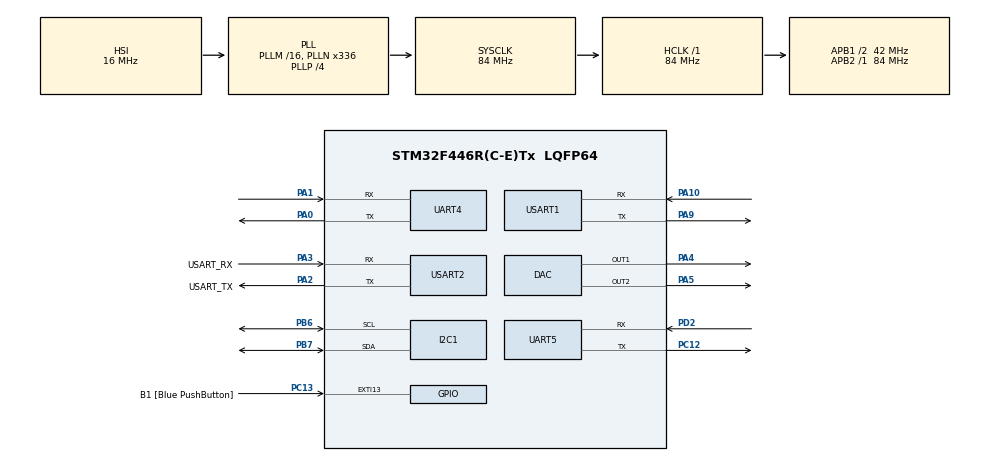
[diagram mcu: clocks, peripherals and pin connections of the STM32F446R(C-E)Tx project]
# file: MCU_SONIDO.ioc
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DAC.DAC_Trigger=DAC_TRIGGER_T6_TRGO
DAC.DAC_Trigger2=DAC_TRIGGER_T7_TRGO
Dma.DAC1.0.Direction=DMA_MEMORY_TO_PERIPH
Dma.DAC1.0.FIFOMode=DMA_FIFOMODE_DISABLE
Dma.DAC1.0.Instance=DMA1_Stream5
Dma.DAC1.0.MemDataAlignment=DMA_MDATAALIGN_HALFWORD
Dma.DAC1.0.MemInc=DMA_MINC_ENABLE
Dma.DAC1.0.Mode=DMA_CIRCULAR
Dma.DAC1.0.PeriphDataAlignment=DMA_PDATAALIGN_HALFWORD
Dma.DAC1.0.PeriphInc=DMA_PINC_DISABLE
Dma.DAC1.0.Priority=DMA_PRIORITY_LOW
Dma.DAC2.1.Direction=DMA_MEMORY_TO_PERIPH
Dma.DAC2.1.FIFOMode=DMA_FIFOMODE_DISABLE
Dma.DAC2.1.Instance=DMA1_Stream6
Dma.DAC2.1.MemDataAlignment=DMA_MDATAALIGN_HALFWORD
Dma.DAC2.1.MemInc=DMA_MINC_ENABLE
Dma.DAC2.1.Mode=DMA_CIRCULAR
Dma.DAC2.1.PeriphDataAlignment=DMA_PDATAALIGN_HALFWORD
Dma.DAC2.1.PeriphInc=DMA_PINC_DISABLE
Dma.DAC2.1.Priority=DMA_PRIORITY_LOW
Dma.Request0=DAC1
Dma.Request1=DAC2
I2C1.OwnAddress=32
Mcu.Family=STM32F4
Mcu.Name=STM32F446R(C-E)Tx
Mcu.Package=LQFP64
NVIC.DMA1_Stream5_IRQn=true\:0\:0\:false\:false\:true\:false\:true\:true
NVIC.DMA1_Stream6_IRQn=true\:0\:0\:false\:false\:true\:false\:true\:true
NVIC.I2C1_ER_IRQn=true\:0\:0\:false\:false\:true\:true\:true\:true
NVIC.I2C1_EV_IRQn=true\:0\:0\:false\:false\:true\:true\:true\:true
NVIC.PriorityGroup=NVIC_PRIORITYGROUP_0
NVIC.TIM6_DAC_IRQn=true\:0\:0\:false\:false\:true\:true\:true\:true
NVIC.TIM7_IRQn=true\:0\:0\:false\:false\:true\:true\:true\:true
NVIC.UART4_IRQn=true\:0\:0\:false\:false\:true\:true\:true\:true
NVIC.UART5_IRQn=true\:0\:0\:false\:false\:true\:true\:true\:true
NVIC.USART1_IRQn=true\:0\:0\:false\:false\:true\:true\:true\:true
NVIC.USART2_IRQn=true\:0\:0\:false\:false\:true\:true\:true\:true
PA0-WKUP.Mode=Asynchronous
PA0-WKUP.Signal=UART4_TX
PA1.Mode=Asynchronous
PA1.Signal=UART4_RX
PA10.Mode=Asynchronous
PA10.Signal=USART1_RX
PA13.GPIO_Label=TMS
PA13.Mode=Serial_Wire
PA13.Signal=SYS_JTMS-SWDIO
PA14.GPIO_Label=TCK
PA14.Mode=Serial_Wire
PA14.Signal=SYS_JTCK-SWCLK
PA2.GPIO_Label=USART_TX
PA2.Mode=Asynchronous
PA2.Signal=USART2_TX
PA3.GPIO_Label=USART_RX
PA3.Mode=Asynchronous
PA3.Signal=USART2_RX
PA4.Signal=COMP_DAC1_group
PA5.Signal=COMP_DAC2_group
PA9.Mode=Asynchronous
PA9.Signal=USART1_TX
PB3.GPIO_Label=SWO
PB3.Signal=SYS_JTDO-SWO
PB6.Mode=I2C
PB6.Signal=I2C1_SCL
PB7.Mode=I2C
PB7.Signal=I2C1_SDA
PC12.Mode=Asynchronous
PC12.Signal=UART5_TX
PC13.GPIO_Label=B1 [Blue PushButton]
PC13.GPIO_ModeDefaultEXTI=GPIO_MODE_IT_FALLING
PC13.Signal=GPXTI13
PC14-OSC32_IN.Mode=LSE-External-Oscillator
PC14-OSC32_IN.Signal=RCC_OSC32_IN
PC15-OSC32_OUT.Mode=LSE-External-Oscillator
PC15-OSC32_OUT.Signal=RCC_OSC32_OUT
PD2.Mode=Asynchronous
PD2.Signal=UART5_RX
PH0-OSC_IN.Mode=HSE-External-Oscillator
PH0-OSC_IN.Signal=RCC_OSC_IN
PH1-OSC_OUT.Mode=HSE-External-Oscillator
PH1-OSC_OUT.Signal=RCC_OSC_OUT
ProjectManager.HeapSize=0x200
ProjectManager.StackSize=0x400
ProjectManager.TargetToolchain=STM32CubeIDE
RCC.48MHZClocksFreq_Value=84000000
RCC.AHBFreq_Value=84000000
RCC.APB1CLKDivider=RCC_HCLK_DIV2
RCC.APB1Freq_Value=42000000
RCC.APB1TimFreq_Value=84000000
RCC.APB2Freq_Value=84000000
RCC.APB2TimFreq_Value=84000000
RCC.CortexFreq_Value=84000000
RCC.FLatency-AdvancedSettings=FLASH_LATENCY_2
RCC.HCLKFreq_Value=84000000
RCC.HSE_VALUE=8000000
RCC.HSI_VALUE=16000000
RCC.PLLN=336
RCC.PLLP=RCC_PLLP_DIV4
RCC.SYSCLKFreq_VALUE=84000000
RCC.SYSCLKSource=RCC_SYSCLKSOURCE_PLLCLK
RCC.USBFreq_Value=168000000
RCC.VCOOutputFreq_Value=336000000
SH.COMP_DAC1_group.0=DAC_OUT1,DAC_OUT1
SH.COMP_DAC2_group.0=DAC_OUT2,DAC_OUT2
TIM1.Period=100-1
TIM1.Prescaler=0
TIM6.Period=1000-1
TIM6.Prescaler=1-1
TIM6.TIM_MasterOutputTrigger=TIM_TRGO_UPDATE
TIM7.Period=1000-1
TIM7.Prescaler=1-1
TIM7.TIM_MasterOutputTrigger=TIM_TRGO_UPDATE
UART4.VirtualMode=Asynchronous
UART5.VirtualMode=Asynchronous
USART1.VirtualMode=VM_ASYNC
USART2.VirtualMode=VM_ASYNC
VP_TIM1_VS_ClockSourceINT.Mode=Internal
VP_TIM6_VS_ClockSourceINT.Mode=Enable_Timer
VP_TIM7_VS_ClockSourceINT.Mode=Enable_Timer
board=NUCLEO-F446RE

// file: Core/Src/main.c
/* USER CODE BEGIN Header */
/**
  ******************************************************************************
  * @file           : main.c
  * @brief          : modulo sonido arcade STM32F446
  *                   rev 3 - ya funciona el doble canal
  *                   NO TOCAR la parte del DMA stop antes del start.
  ******************************************************************************
 */
/* USER CODE END Header */
#include "main.h"

/* USER CODE BEGIN Includes */
#include <stdint.h>
#include <stdio.h>
#include <string.h>
#include <math.h>
/* USER CODE END Includes */

/* USER CODE BEGIN PTD */
#define TCLK       84000000
#define PSC_DAC    1
#define WAVE_SZ    128
#define M_PI_      3.1415926535

// notas en Hz - copiadas de https://pages.mtu.edu/~suits/notefreqs.html
#define _B0  31A
#define _C1  33
#define _CS1 35
#define _D1  37
#define _DS1 39
#define _E1  41
#define _F1  44
#define _FS1 46
#define _G1  49
#define _GS1 52
#define _A1  55
#define _AS1 58
#define _B1  62
#define _C2  65
#define _CS2 69
#define _D2  73
#define _DS2 78
#define _E2  82
#define _F2  87
#define _FS2 93
#define _G2  98
#define _GS2 104
#define _A2  110
#define _AS2 117
#define _B2  123
#define _C3  131
#define _CS3 139
#define _D3  147
#define _DS3 156
#define _E3  165
#define _F3  175
#define _FS3 185
#define _G3  196
#define _GS3 208
#define _A3  220
#define _AS3 233
#define _B3  247
#define _C4  262
#define _CS4 277
#define _D4  294
#define _DS4 311
#define _E4  330
#define _F4  349
#define _FS4 370
#define _G4  392
#define _GS4 415
#define _A4  440
#define _AS4 466
#define _B4  494
#define _C5  523
#define _CS5 554
#define _D5  587
#define _DS5 622
#define _E5  659
#define _F5  698
#define _FS5 740
#define _G5  784
#define _GS5 831
#define _A5  880
#define _AS5 932
#define _B5  988
#define _C6  1047
#define _CS6 1109
#define _D6  1175
#define _DS6 1245
#define _E6  1319
#define _F6  1397
#define _FS6 1480
#define _G6  1568
#define _GS6 1661
#define _A6  1760
#define _AS6 1865
#define _B6  1976

typedef struct { int freq; int dur; } nota_t;

typedef enum { OFF=0,
	ON, GAP } chst_t;

typedef struct {
    nota_t *seq;
    int len, idx;
    nota_t *saved;       // bgm backup
    int saved_len, saved_i;
    uint32_t tnext;
    chst_t st;
    uint8_t lp;
    TIM_HandleTypeDef *tim;
    uint32_t dac_ch;
} audch_t;
/* USER CODE END PTD */

DAC_HandleTypeDef hdac;
DMA_HandleTypeDef hdma_dac1;
DMA_HandleTypeDef hdma_dac2;
I2C_HandleTypeDef hi2c1;
TIM_HandleTypeDef htim1;
TIM_HandleTypeDef htim6;
TIM_HandleTypeDef htim7;
UART_HandleTypeDef huart4;
UART_HandleTypeDef huart5;
UART_HandleTypeDef huart1;
UART_HandleTypeDef huart2;

/* USER CODE BEGIN PV */
uint32_t seno_lut[WAVE_SZ];
uint8_t rx_kb = 0;
uint8_t rx1 = 0, rx2 = 0, rx_st = 0;
volatile uint8_t fwd1 = 0, fwd2 = 0;
volatile uint8_t sfx_cmd = 0, sfx_pend = 0;

audch_t mel, bass, fx;
volatile char gstate = '0'; // S P M W

//uint8_t dbg_cnt = 0; // para debug con el logic analyzer, lo dejo por si acaso

/* efectos - ajustados a oido con el speaker de 8ohm */
nota_t sfx_walk[] = { {_E4,40},{0,20},{_G4,40},{0,20},{_E4,40},{0,30} };
nota_t sfx_jump[] = { {_C5,25},{_E5,35} };
nota_t sfx_fall[] = { {_E5,35},{_C5,35},{_A4,50} };
nota_t sfx_hit[] = { {_C6,25} };
nota_t sfx_special[] = { {_C4,20},{_E4,20},{_G4,20},{_C5,20},{_E5,30} };

// game over
nota_t death_tune[] = {
	{_C4,500},{0,100},{_C4,500},{0,100},{_C4,350},{_DS4,150},{_D4,800},{0,100},
	{_D4,500},{0,100},{_C4,300},{_G4,800},{0,100},
	{_GS4,400},{_G4,400},{_F4,400},{_DS4,400},{_D4,400},{_C4,1200}
};

nota_t win_tune[] = {
	{_E5,160},{_E5,80},{_D5,160},{_E5,80},{_FS5,160},{_E5,80},{_DS5,160},{_E5,80},
	{_D5,160},{_D5,80},{_CS5,160},{_D5,80},{_E5,160},{_D5,80},{_CS5,160},{_B4,80},
	{_C5,160},{_C5,80},{_B4,160},{_A4,80},{_GS4,160},{_A4,80},{_B4,240}
};

// melodia ppal - mano derecha

nota_t m_right[] = {
  {_AS5,200},{_A5,150},{_AS5,100},{_A5,150},{_AS5,100},{_E5,100},{_AS5,100},{_C5,100},
  {_AS5,100},{_E5,400},{_AS5,100},{_E4,50},{_AS5,100},{_A5,150},{_AS5,100},{_E4,50},
  {_AS5,100},{_E4,50},{_AS5,100},{_DS4,200},{_AS5,100},{_E4,75},{_AS5,200},{_E4,50},
  {_AS5,100},{_E4,50},{_AS5,100},{_A5,150},{_AS5,100},{_E4,50},{_AS5,100},{_E4,50},
  {_AS5,100},{_E4,150},{_AS5,100},{_E4,50},{_AS5,100},{_E4,50},{_AS5,100},{_GS5,150},
  {_AS5,100},{_E4,50},{_AS5,100},{_E4,50},{_AS5,100},{_E4,150},{_AS5,100},{_E4,50},
  {_AS5,100},{_E4,50},{_AS5,100},{_GS5,150},{_AS5,100},{_E4,50},{_AS5,100},{_C4,100},
  {_E4,50},{_AS5,100},{_E4,150},{_AS5,100},{_E4,50},{_AS5,100},{_E4,50},{_AS5,100},
  {_A5,150},{_AS5,100},{_E4,50},{_AS5,100},{_E4,50},{_AS5,100},{_DS4,200},{_AS5,100},
  {_E4,75},{_AS5,200},{_E4,50},{_AS5,100},{_E4,50},{_AS5,100},{_A5,150},{_AS5,100},
  {_E4,50},{_AS5,100},{_E4,50},{_AS5,100},{_E4,150},{_AS5,100},{_E4,50},{_AS5,100},
  {_E4,50},{_AS5,100},{_GS5,150},{_AS5,100},{_E4,50},{_AS5,100},{_E4,50},{_AS5,100},
  {_E4,50},{_AS5,100},{_E4,50},{_AS5,100},{_GS5,150},{_AS5,100},{_E4,50},{_AS5,100},
  {_E4,50},{_AS5,100},{_E4,150},{_AS5,100},{_E4,50},{_AS5,100},{_C4,150},{_AS5,100},
  {_C4,150},{_AS5,100},{_C4,150},{_AS5,100},{_C4,150},{_AS5,100},{_C4,150},{_AS5,100},
  {_C4,150},{_AS5,100},{_C4,150},{_AS5,100},{_C4,150},{_AS5,100},{_C4,150},{_AS5,100},
  {_D4,150},{_AS5,100},{_D4,50},{_AS5,100},{_D4,150},{_AS5,100},{_GS4,150},{_AS5,100},
  {_A4,150},{_AS5,100},{_GS4,100},{_AS5,200},{_A4,200},{_AS5,100},{_C5,100},{_AS5,200},
  {_DS5,200},{_A4,150},{_AS5,100},{_E5,100},{_AS5,200},{_E6,300},{_AS5,100},{_E6,150},
  {_AS5,100},{_E4,150},{_AS5,100},{_B5,300},{_AS5,100},{_B5,150},{_AS5,100},{_GS4,150},
  {_AS5,100},{_B5,100},{_AS5,200},{_GS4,150},{_AS5,100},{_D6,300},{_AS5,100},{_D6,150},
  {_AS5,100},{_E5,100},{_AS5,100},{_DS5,200},{_AS5,200},{_E5,100},{_AS5,100},{_F5,200},
  {_AS5,200},{_FS5,100},{_AS5,100},{_G5,200},{_AS5,200},{_GS5,100},{_AS5,100},{_A5,400},
  {0,200}
};

// melodia ppal - mano izquierda
nota_t m_left[] = {
  {_A3,80},{_A1,300},{_A3,60},{_A1,300},{_A3,60},{_E1,300},{_A3,55},{_E1,300},
  {_A3,57},{_F1,300},{_G1,300},{_A3,100},{_F1,150},{_A3,72},{_G1,300},{_A1,300},
  {_A3,60},{_A1,300},{_A3,60},{_E1,300},{_A3,55},{_E1,300},{_A3,57},{_F1,300},
  {_C2,150},{_B1,300},{_A3,100},{_A1,300},{_A3,72},{_E1,150},{_A1,300},{_A3,60},
  {_A1,300},{_A3,60},{_B1,300},{_A3,55},{_B1,300},{_A3,57},{_C2,300},{_A3,100},
  {_B1,300},{_A3,72},{_B1,300},{_A1,300},{_A3,60},{_A1,300},{_A3,60},{_B1,300},
  {_A3,55},{_B1,300},{_A3,57},{_C2,300},{_A3,100},{_B1,300},{_A3,72},{_B1,300},
  {_D2,100},{_A1,300},{_A3,60},{_B1,300},{_A3,55},{_B1,300},{_GS3,100},{_C2,300},
  {_A3,100},{_B1,300},{_A3,72},{_B1,300},{_A1,300},{_A3,60},{_B1,300},{_A3,55},
  {_B1,300},{_A3,57},{_D2,300},{_A3,100},{_B1,300},{_A3,72},{_B1,300},{_GS1,300},
  {_A3,60},{_GS1,300},{_B1,300},{_A3,55},{_B1,300},{_G3,100},{_A3,57},{_D2,300},
  {_A3,100},{_B1,300},{_A3,72},{_B1,300},{_GS1,300},{_A3,60},{_GS1,300},{_B1,300},
  {_A3,55},{_B1,300},{_B3,100},{_C2,300},{_A3,100},{_B1,300},{_B3,100},{_B1,300},
  {_A1,300},{_A3,60},{_B1,300},{_A3,55},{_B1,300},{_GS3,100},{_C2,300},{_A3,100},
  {_B1,300},{_A3,72},{_B1,300},{_A1,300},{_A3,60},{_B1,300},{_A3,55},{_B1,300},
  {_A3,57},{_D2,300},{_A3,100},{_B1,300},{_A3,72},{_B1,300},{_GS1,300},{_A3,60},
  {_GS1,300},{_B1,300},{_A3,55},{_B1,300},{_A3,57},{_D2,300},{_A3,100},{_B1,300},
  {_A3,72},{_B1,300},{_GS1,300},{_E3,100},{_DS3,200},{_A3,60},{_GS1,300},{_E3,100},
  {_F3,200},{_A3,60},{_B1,300},{_FS3,100},{_G3,200},{_A3,55},{_B1,300},{_GS3,100},
  {_A3,57},{_C2,300},{_A3,100},{_B1,300},{_A3,72},{_B1,300},{_FS2,300},{_A3,60},
  {0,200}
};
/* USER CODE END PV */

void SystemClock_Config(void);
static void MX_GPIO_Init(void);
static void MX_DMA_Init(void);
static void MX_DAC_Init(void);
static void MX_TIM1_Init(void);
static void MX_USART2_UART_Init(void);
static void MX_TIM6_Init(void);
static void MX_I2C1_Init(void);
static void MX_UART4_Init(void);
static void MX_UART5_Init(void);
static void MX_USART1_UART_Init(void);
static void MX_TIM7_Init(void);

/* USER CODE BEGIN PFP */
void init_lut(void);
void set_dac(audch_t *c, int f);
void start_seq(audch_t *c, nota_t *s, int n, uint8_t loop, TIM_HandleTypeDef *t, uint32_t dch);
void update(audch_t *c);
void bgm_start(void);
void play_sfx(nota_t *s, int n);
void handle_cmd(uint8_t cmd);
/* USER CODE END PFP */

/* USER CODE BEGIN 0 */

void init_lut(void) {
	int i;
	for(i=0; i<WAVE_SZ; i++)
		seno_lut[i] = (uint32_t)(2048.0 + sin(i*2.0*M_PI_/WAVE_SZ)*600.0);
	// 600 de amplitud porque con mas se distorsiona en el ampli
}

void set_dac(audch_t *c, int f) {
	HAL_DAC_Stop_DMA(&hdac, c->dac_ch);
	if(f <= 0) return;
	// formula: 84MHz / ((1+1) * 128 * freq) - 1
	c->tim->Instance->ARR = (TCLK/((PSC_DAC+1)*WAVE_SZ*f))-1;
	HAL_DAC_Start_DMA(&hdac, c->dac_ch, (uint32_t*)seno_lut, WAVE_SZ, DAC_ALIGN_12B_R);
}

void start_seq(audch_t *c, nota_t *s, int n, uint8_t loop, TIM_HandleTypeDef *t, uint32_t dch) {
	c->seq=s; c->len=n; c->idx=0;
	c->lp=loop; c->tim=t; c->dac_ch=dch;
	c->st = ON;
	set_dac(c, s[0].freq);
	c->tnext = HAL_GetTick() + s[0].dur;
}

// state machine - cada canal corre independiente
// ON: suena la nota hasta que expire el duracion
// GAP: 10ms de silencio entre notas
// OFF: nada
void update(audch_t *c) {
	if(c->st == OFF) return;
	uint32_t t = HAL_GetTick();

	if(c->st==ON && t>=c->tnext) {
		HAL_DAC_Stop_DMA(&hdac, c->dac_ch);
		c->st=GAP;
		c->tnext = t+10;
		return;
	}
	if(c->st==GAP && t>=c->tnext) {
		c->idx++;
		if(c->idx >= c->len) {
			if(c->lp) { c->idx=0; }
			else if(c->saved) {

				c->seq=c->saved; c->len=c->saved_len;
				c->idx=c->saved_i; c->lp=1;
				c->saved=NULL;
			}
			else { c->st=OFF; return; }
		}
		set_dac(c, c->seq[c->idx].freq);
		c->st=ON;
		c->tnext = t + c->seq[c->idx].dur;
	}
}

void bgm_start(void) {
	HAL_TIM_Base_Start(&htim6);
	HAL_TIM_Base_Start(&htim7);
	start_seq(&mel, m_right, sizeof(m_right)/sizeof(nota_t), 1, &htim6, DAC_CHANNEL_1);
	start_seq(&bass, m_left, sizeof(m_left)/sizeof(nota_t), 1, &htim7, DAC_CHANNEL_2);
}

void play_sfx(nota_t *s, int n) {
	if(mel.st!=OFF && mel.lp) {
		// guardar donde va la musica
		mel.saved=mel.seq;
		mel.saved_len=mel.len;
		mel.saved_i=mel.idx;
	}
	start_seq(&fx, s, n, 0, &htim6, DAC_CHANNEL_1);
}

/*
 * protocolo de comandos (1 byte por UART):
 *  S = iniciar musica    M = game over    W = victoria    P = pausa/menu
 *  Mayusculas = player 1   minusculas = player 2
 *  R/L = caminar   U/D = saltar/bajar   A = accion   B = especial   N = idle
 */
void handle_cmd(uint8_t cmd)
{
	static uint8_t last1=0, last2=0; // anti-repeticion

	// ---- comandos de estado ----
	if(cmd=='S'||cmd=='P'||cmd=='M'||cmd=='W') {
		if(cmd==gstate)
			return; // ya estamos ahi
		gstate=cmd;
		switch(cmd) {
		case 'S': bgm_start();
			break;
		case 'M':
			bass.st=OFF;
			HAL_DAC_Stop_DMA(&hdac, DAC_CHANNEL_2); // IMPORTANTE - ver nota arriba
			play_sfx(death_tune, sizeof(death_tune)/sizeof(nota_t));
			break;
		case 'W':
			bass.st=OFF;
			HAL_DAC_Stop_DMA(&hdac, DAC_CHANNEL_2);
			play_sfx(win_tune, sizeof(win_tune)/sizeof(nota_t));
			break;
		// P: nada por ahora, la musica deberia pausarse pero no implementamos eso
		}
		return;
	}

	// sfx solo en pantalla de pausa, durante la musica no porque se enciman
	if(gstate != 'P') return;

	// player 1
	if(cmd>='A' && cmd<='Z') {
		if(cmd=='N'){last1=0; return;}
		if(cmd==last1) return;
		last1=cmd;
		if(cmd=='R'||cmd=='L')
			play_sfx(sfx_walk, sizeof(sfx_walk)/sizeof(nota_t));
		else if(cmd=='U'||cmd=='D'||cmd=='A')
			play_sfx(sfx_jump, sizeof(sfx_jump)/sizeof(nota_t));
		else if(cmd=='B')
			play_sfx(sfx_special, sizeof(sfx_special)/sizeof(nota_t));
	}
	// player 2 - mismo pero minuscula
	if(cmd>='a' && cmd<='z') {
		if(cmd=='n'){last2=0; return;}
		if(cmd==last2) return;
		last2=cmd;
		if(cmd=='r'||cmd=='l')
			play_sfx(sfx_walk, sizeof(sfx_walk)/sizeof(nota_t));
		else if(cmd=='u'||cmd=='d'||cmd=='a')
			play_sfx(sfx_jump, sizeof(sfx_jump)/sizeof(nota_t));
		else if(cmd=='b')
			play_sfx(sfx_special, sizeof(sfx_special)/sizeof(nota_t));
	}
}
/* USER CODE END 0 */

int main(void)
{
  HAL_Init();
  SystemClock_Config();
  MX_GPIO_Init();
  MX_DMA_Init();
  MX_DAC_Init();
  MX_TIM1_Init();
  MX_USART2_UART_Init();
  MX_TIM6_Init();
  MX_I2C1_Init();
  MX_UART4_Init();
  MX_UART5_Init();
  MX_USART1_UART_Init();
  MX_TIM7_Init();

  /* USER CODE BEGIN 2 */
  init_lut();
  HAL_UART_Receive_IT(&huart4, &rx1, 1);
  HAL_UART_Receive_IT(&huart5, &rx2, 1);
  HAL_UART_Receive_IT(&huart1, &rx_st, 1);
  HAL_UART_Receive_IT(&huart2, &rx_kb, 1);

  memset(&mel, 0, sizeof(audch_t));
  memset(&bass, 0, sizeof(audch_t));
  memset(&fx, 0, sizeof(audch_t));

  //bgm_start(); // descomentar para q suene al prender
  /* USER CODE END 2 */

  while(1)
  {
	  // forwarding joysticks -> modulo central
	  if(fwd1){ HAL_UART_Transmit(&huart1,(uint8_t*)&fwd1,1,5); fwd1=0; }
	  if(fwd2){ HAL_UART_Transmit(&huart1,(uint8_t*)&fwd2,1,5); fwd2=0; }

	  if(sfx_pend){ sfx_pend=0; handle_cmd(sfx_cmd); }

	  // fx tiene prioridad sobre mel (comparten timer6)
	  if(fx.st != OFF) update(&fx);
	  else update(&mel);

	  update(&bass);
  }
}

/* USER CODE BEGIN 4 */
void HAL_UART_RxCpltCallback(UART_HandleTypeDef *huart)
{
	if(huart->Instance==UART4){
		fwd1=rx1; sfx_cmd=rx1; sfx_pend=1;
		HAL_UART_Receive_IT(&huart4,&rx1,1);
	}
	else if(huart->Instance==UART5){
		fwd2=rx2; sfx_cmd=rx2; sfx_pend=1;
		HAL_UART_Receive_IT(&huart5,&rx2,1);
	}
	else if(huart->Instance==USART1){
		sfx_cmd=rx_st; sfx_pend=1;
		HAL_UART_Receive_IT(&huart1,&rx_st,1);
	}
	else if(huart->Instance==USART2){
		sfx_cmd=rx_kb; sfx_pend=1;
		HAL_UART_Receive_IT(&huart2,&rx_kb,1);
	}
}
/* USER CODE END 4 */

void SystemClock_Config(void)
{
  RCC_OscInitTypeDef RCC_OscInitStruct = {0};
  RCC_ClkInitTypeDef RCC_ClkInitStruct = {0};

  /** Configure the main internal regulator output voltage
  */
  __HAL_RCC_PWR_CLK_ENABLE();
  __HAL_PWR_VOLTAGESCALING_CONFIG(PWR_REGULATOR_VOLTAGE_SCALE3);

  /** Initializes the RCC Oscillators according to the specified parameters
  * in the RCC_OscInitTypeDef structure.
  */
  RCC_OscInitStruct.OscillatorType = RCC_OSCILLATORTYPE_HSI;
  RCC_OscInitStruct.HSIState = RCC_HSI_ON;
  RCC_OscInitStruct.HSICalibrationValue = RCC_HSICALIBRATION_DEFAULT;
  RCC_OscInitStruct.PLL.PLLState = RCC_PLL_ON;
  RCC_OscInitStruct.PLL.PLLSource = RCC_PLLSOURCE_HSI;
  RCC_OscInitStruct.PLL.PLLM = 16;
  RCC_OscInitStruct.PLL.PLLN = 336;
  RCC_OscInitStruct.PLL.PLLP = RCC_PLLP_DIV4;
  RCC_OscInitStruct.PLL.PLLQ = 2;
  RCC_OscInitStruct.PLL.PLLR = 2;
  if (HAL_RCC_OscConfig(&RCC_OscInitStruct) != HAL_OK)
  {
    Error_Handler();
  }

  /** Initializes the CPU, AHB and APB buses clocks
  */
  RCC_ClkInitStruct.ClockType = RCC_CLOCKTYPE_HCLK|RCC_CLOCKTYPE_SYSCLK
                              |RCC_CLOCKTYPE_PCLK1|RCC_CLOCKTYPE_PCLK2;
  RCC_ClkInitStruct.SYSCLKSource = RCC_SYSCLKSOURCE_PLLCLK;
  RCC_ClkInitStruct.AHBCLKDivider = RCC_SYSCLK_DIV1;
  RCC_ClkInitStruct.APB1CLKDivider = RCC_HCLK_DIV2;
  RCC_ClkInitStruct.APB2CLKDivider = RCC_HCLK_DIV1;

  if (HAL_RCC_ClockConfig(&RCC_ClkInitStruct, FLASH_LATENCY_2) != HAL_OK)
  {
    Error_Handler();
  }
}

static void MX_DAC_Init(void)
{

  DAC_ChannelConfTypeDef sConfig = {0};

  /** DAC Initialization
  */
  hdac.Instance = DAC;
  if (HAL_DAC_Init(&hdac) != HAL_OK)
  {
    Error_Handler();
  }

  /** DAC channel OUT1 config
  */
  sConfig.DAC_Trigger = DAC_TRIGGER_T6_TRGO;
  sConfig.DAC_OutputBuffer = DAC_OUTPUTBUFFER_ENABLE;
  if (HAL_DAC_ConfigChannel(&hdac, &sConfig, DAC_CHANNEL_1) != HAL_OK)
  {
    Error_Handler();
  }

  /** DAC channel OUT2 config
  */
  sConfig.DAC_Trigger = DAC_TRIGGER_T7_TRGO;
  if (HAL_DAC_ConfigChannel(&hdac, &sConfig, DAC_CHANNEL_2) != HAL_OK)
  {
    Error_Handler();
  }

}

static void MX_I2C1_Init(void)
{

  hi2c1.Instance = I2C1;
  hi2c1.Init.ClockSpeed = 100000;
  hi2c1.Init.DutyCycle = I2C_DUTYCYCLE_2;
  hi2c1.Init.OwnAddress1 = 64;
  hi2c1.Init.AddressingMode = I2C_ADDRESSINGMODE_7BIT;
  hi2c1.Init.DualAddressMode = I2C_DUALADDRESS_DISABLE;
  hi2c1.Init.OwnAddress2 = 0;
  hi2c1.Init.GeneralCallMode = I2C_GENERALCALL_DISABLE;
  hi2c1.Init.NoStretchMode = I2C_NOSTRETCH_DISABLE;
  if (HAL_I2C_Init(&hi2c1) != HAL_OK)
  {
    Error_Handler();
  }

}

static void MX_TIM1_Init(void)
{

  TIM_ClockConfigTypeDef sClockSourceConfig = {0};
  TIM_MasterConfigTypeDef sMasterConfig = {0};

  htim1.Instance = TIM1;
  htim1.Init.Prescaler = 0;
  htim1.Init.CounterMode = TIM_COUNTERMODE_UP;
  htim1.Init.Period = 100-1;
  htim1.Init.ClockDivision = TIM_CLOCKDIVISION_DIV1;
  htim1.Init.RepetitionCounter = 0;
  htim1.Init.AutoReloadPreload = TIM_AUTORELOAD_PRELOAD_DISABLE;
  if (HAL_TIM_Base_Init(&htim1) != HAL_OK)
  {
    Error_Handler();
  }
  sClockSourceConfig.ClockSource = TIM_CLOCKSOURCE_INTERNAL;
  if (HAL_TIM_ConfigClockSource(&htim1, &sClockSourceConfig) != HAL_OK)
  {
    Error_Handler();
  }
  sMasterConfig.MasterOutputTrigger = TIM_TRGO_RESET;
  sMasterConfig.MasterSlaveMode = TIM_MASTERSLAVEMODE_DISABLE;
  if (HAL_TIMEx_MasterConfigSynchronization(&htim1, &sMasterConfig) != HAL_OK)
  {
    Error_Handler();
  }

}

static void MX_TIM6_Init(void)
{

  TIM_MasterConfigTypeDef sMasterConfig = {0};

  htim6.Instance = TIM6;
  htim6.Init.Prescaler = 1-1;
  htim6.Init.CounterMode = TIM_COUNTERMODE_UP;
  htim6.Init.Period = 1000-1;
  htim6.Init.AutoReloadPreload = TIM_AUTORELOAD_PRELOAD_DISABLE;
  if (HAL_TIM_Base_Init(&htim6) != HAL_OK)
  {
    Error_Handler();
  }
  sMasterConfig.MasterOutputTrigger = TIM_TRGO_UPDATE;
  sMasterConfig.MasterSlaveMode = TIM_MASTERSLAVEMODE_DISABLE;
  if (HAL_TIMEx_MasterConfigSynchronization(&htim6, &sMasterConfig) != HAL_OK)
  {
    Error_Handler();
  }

}

static void MX_TIM7_Init(void)
{

  TIM_MasterConfigTypeDef sMasterConfig = {0};

  htim7.Instance = TIM7;
  htim7.Init.Prescaler = 1-1;
  htim7.Init.CounterMode = TIM_COUNTERMODE_UP;
  htim7.Init.Period = 1000-1;
  htim7.Init.AutoReloadPreload = TIM_AUTORELOAD_PRELOAD_DISABLE;
  if (HAL_TIM_Base_Init(&htim7) != HAL_OK)
  {
    Error_Handler();
  }
  sMasterConfig.MasterOutputTrigger = TIM_TRGO_UPDATE;
  sMasterConfig.MasterSlaveMode = TIM_MASTERSLAVEMODE_DISABLE;
  if (HAL_TIMEx_MasterConfigSynchronization(&htim7, &sMasterConfig) != HAL_OK)
  {
    Error_Handler();
  }

}

static void MX_UART4_Init(void)
{

  huart4.Instance = UART4;
  huart4.Init.BaudRate = 115200;
  huart4.Init.WordLength = UART_WORDLENGTH_8B;
  huart4.Init.StopBits = UART_STOPBITS_1;
  huart4.Init.Parity = UART_PARITY_NONE;
  huart4.Init.Mode = UART_MODE_TX_RX;
  huart4.Init.HwFlowCtl = UART_HWCONTROL_NONE;
  huart4.Init.OverSampling = UART_OVERSAMPLING_16;
  if (HAL_UART_Init(&huart4) != HAL_OK)
  {
    Error_Handler();
  }

}

static void MX_UART5_Init(void)
{

  huart5.Instance = UART5;
  huart5.Init.BaudRate = 115200;
  huart5.Init.WordLength = UART_WORDLENGTH_8B;
  huart5.Init.StopBits = UART_STOPBITS_1;
  huart5.Init.Parity = UART_PARITY_NONE;
  huart5.Init.Mode = UART_MODE_TX_RX;
  huart5.Init.HwFlowCtl = UART_HWCONTROL_NONE;
  huart5.Init.OverSampling = UART_OVERSAMPLING_16;
  if (HAL_UART_Init(&huart5) != HAL_OK)
  {
    Error_Handler();
  }

}

static void MX_USART1_UART_Init(void)
{

  huart1.Instance = USART1;
  huart1.Init.BaudRate = 115200;
  huart1.Init.WordLength = UART_WORDLENGTH_8B;
  huart1.Init.StopBits = UART_STOPBITS_1;
  huart1.Init.Parity = UART_PARITY_NONE;
  huart1.Init.Mode = UART_MODE_TX_RX;
  huart1.Init.HwFlowCtl = UART_HWCONTROL_NONE;
  huart1.Init.OverSampling = UART_OVERSAMPLING_16;
  if (HAL_UART_Init(&huart1) != HAL_OK)
  {
    Error_Handler();
  }

}

static void MX_USART2_UART_Init(void)
{

  huart2.Instance = USART2;
  huart2.Init.BaudRate = 115200;
  huart2.Init.WordLength = UART_WORDLENGTH_8B;
  huart2.Init.StopBits = UART_STOPBITS_1;
  huart2.Init.Parity = UART_PARITY_NONE;
  huart2.Init.Mode = UART_MODE_TX_RX;
  huart2.Init.HwFlowCtl = UART_HWCONTROL_NONE;
  huart2.Init.OverSampling = UART_OVERSAMPLING_16;
  if (HAL_UART_Init(&huart2) != HAL_OK)
  {
    Error_Handler();
  }

}

static void MX_DMA_Init(void)
{

  /* DMA controller clock enable */
  __HAL_RCC_DMA1_CLK_ENABLE();

  /* DMA interrupt init */
  /* DMA1_Stream5_IRQn interrupt configuration */
  HAL_NVIC_SetPriority(DMA1_Stream5_IRQn, 0, 0);
  HAL_NVIC_EnableIRQ(DMA1_Stream5_IRQn);
  /* DMA1_Stream6_IRQn interrupt configuration */
  HAL_NVIC_SetPriority(DMA1_Stream6_IRQn, 0, 0);
  HAL_NVIC_EnableIRQ(DMA1_Stream6_IRQn);

}

static void MX_GPIO_Init(void)
{
  GPIO_InitTypeDef GPIO_InitStruct = {0};

  /* GPIO Ports Clock Enable */
  __HAL_RCC_GPIOC_CLK_ENABLE();
  __HAL_RCC_GPIOH_CLK_ENABLE();
  __HAL_RCC_GPIOA_CLK_ENABLE();
  __HAL_RCC_GPIOB_CLK_ENABLE();

  /*Configure GPIO pin : B1_Pin */
  GPIO_InitStruct.Pin = B1_Pin;
  GPIO_InitStruct.Mode = GPIO_MODE_IT_FALLING;
  GPIO_InitStruct.Pull = GPIO_NOPULL;
  HAL_GPIO_Init(B1_GPIO_Port, &GPIO_InitStruct);
}

void Error_Handler(void)
{
  __disable_irq();
  while (1)
  {
  }
}
